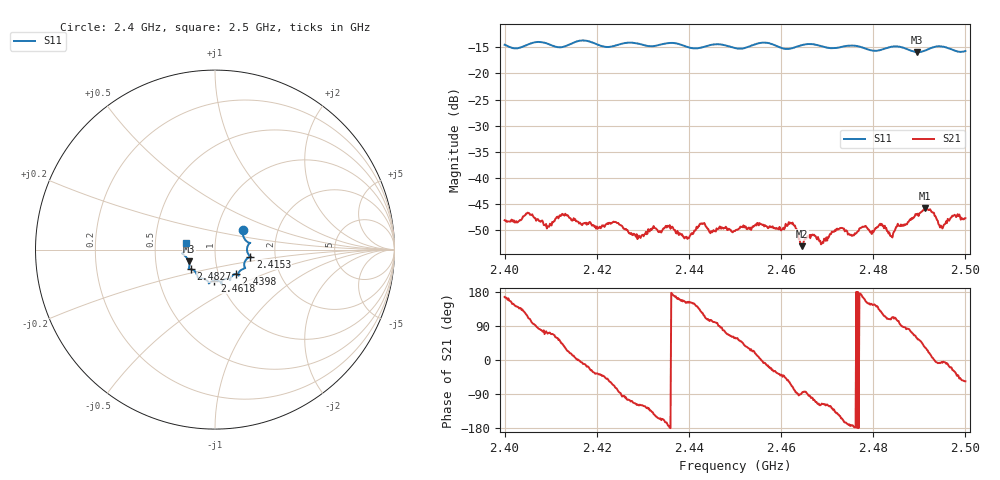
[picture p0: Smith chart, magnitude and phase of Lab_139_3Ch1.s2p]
# Hz S RI R 50
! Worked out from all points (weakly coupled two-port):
!   601 points, 2.4 GHz to 2.5 GHz, reference 50 ohm
!   highest |S21| = -45.79 dB at 2.4912 GHz (marker M1); lowest = -53.1 dB at 2.4645 GHz (marker M2)
!   lowest |S11| = -15.9 dB at 2.4895 GHz (marker M3), VSWR 1.38, Z = 37 - j5.02 ohm
!   |S11| at or under -10 dB: start of sweep to end of sweep
!   S12 and S22 are empty: the file has one direction only
!   S11 on the Smith chart (normalised r, x): 2.4 GHz: 1.33, +0.30; 2.4153 GHz: 1.48, -0.12; 2.4398 GHz: 1.21, -0.34; 2.4618 GHz: 0.94, -0.33; 2.4827 GHz: 0.75, -0.17; 2.5 GHz: 0.72, +0.06
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2.4e9  0.1552 0.1072  -0.00381 0.000929  0 0  0 0
2.405167e9  0.1856 0.0395  -0.00162 0.00431  0 0  0 0
2.409167e9  0.1909 0.0332  0.000986 0.00312  0 0  0 0
2.415333e9  0.1963 -0.0389  0.00399 0.000428  0 0  0 0
2.416667e9  0.2024 -0.043  0.00355 -0.000372  0 0  0 0
2.424167e9  0.1629 -0.0893  0.00103 -0.00362  0 0  0 0
2.429e9  0.1618 -0.1057  -0.0013 -0.00237  0 0  0 0
2.433333e9  0.1306 -0.1336  -0.00271 -0.00136  0 0  0 0
2.439833e9  0.1156 -0.1358  -0.00237 0.00117  0 0  0 0
2.442833e9  0.0899 -0.1531  -0.00205 0.00302  0 0  0 0
2.45e9  0.0654 -0.1627  0.00159 0.00265  0 0  0 0
2.461833e9  -0.00288 -0.1725  0.00189 -0.00309  0 0  0 0
2.4645e9  -0.0304 -0.1845  0.000117 -0.00221  0 0  0 0
2.466667e9  -0.0344 -0.188  -0.000455 -0.00277  0 0  0 0
2.468667e9  -0.038 -0.1789  -0.00108 -0.00204  0 0  0 0
2.4725e9  -0.0752 -0.1604  -0.00262 -0.00189  0 0  0 0
2.482667e9  -0.1351 -0.1092  -0.00133 0.003  0 0  0 0
2.483333e9  -0.1401 -0.109  -0.0009 0.00278  0 0  0 0
2.4895e9  -0.1459 -0.0662  0.0024 0.00379  0 0  0 0
2.491167e9  -0.1595 -0.0434  0.00424 0.0029  0 0  0 0
2.494667e9  -0.1807 -0.0207  0.00346 -0.000415  0 0  0 0
2.5e9  -0.1592 0.0388  0.00228 -0.00341  0 0  0 0
